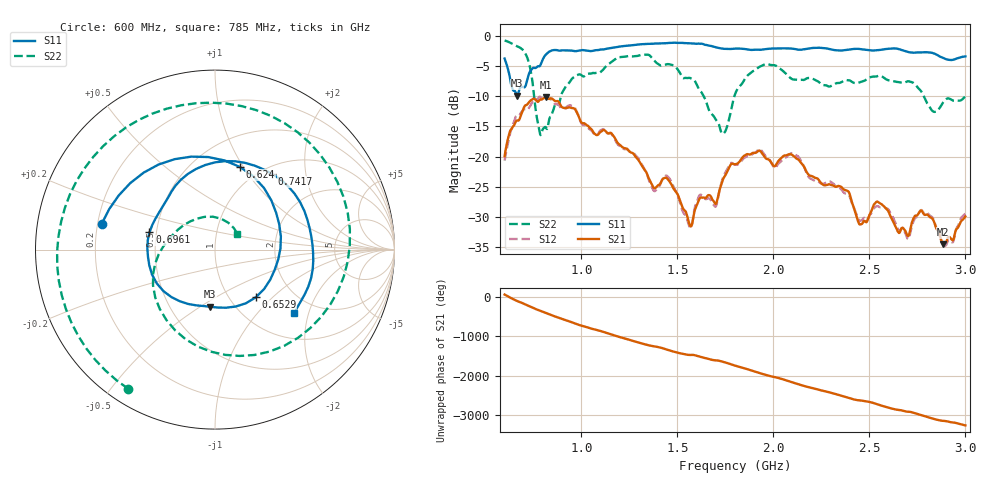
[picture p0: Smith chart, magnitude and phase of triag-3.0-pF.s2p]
#  HZ  S  RI  R  50.00
! Rohde & Schwarz ZVB8 2Ports - Version 2.81 - 1145.1010k08 SN: 100113
! Date: 2016-03-12 02:07:58
! Measurements: S11 S21 S12 S22
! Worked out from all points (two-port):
!   1000 points, 600 MHz to 3 GHz, reference 50 ohm
!   highest |S21| = -10.21 dB at 816.2 MHz (marker M1); lowest = -34.5 dB at 2.885 GHz (marker M2)
!   |S21| within 3 dB of the highest: 684 MHz to 983.8 MHz (299.8 MHz wide, 36 % of centre)
!   lowest |S11| = -9.9 dB at 664.9 MHz (marker M3), VSWR 1.94, Z = 38.8 - j27.5 ohm
!   |S11| at or under -10 dB: nowhere
!   |S22| runs from -16.4 to -0.8 dB; largest |S21 - S12| = 0.035
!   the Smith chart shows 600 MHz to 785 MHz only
!   S11 on the Smith chart (normalised r, x): 600 MHz: 0.22, +0.11; 624 MHz: 0.81, +0.97; 652.9 MHz: 1.31, -0.80; 696.1 MHz: 0.46, +0.10; 741.7 MHz: 1.12, +1.31; 785 MHz: 1.55, -1.62
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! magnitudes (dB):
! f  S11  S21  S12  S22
! 600 MHz  -3.8  -20.0  -20.7  -0.8
! 624 MHz  -6.4  -16.3  -16.8  -1.1
! 652.9 MHz  -9.1  -14.6  -13.9  -1.5
! 664.9 MHz  -9.9  -14.0  -13.2  -1.7
! 696.1 MHz  -8.5  -12.2  -12.3  -2.4
! 741.7 MHz  -5.5  -10.6  -11.1  -6.9
! 785 MHz  -4.9  -10.5  -10.1  -16.3
! 816.2 MHz  -3.1  -10.2  -9.9  -15.2
! 1.001 GHz  -2.4  -14.4  -14.5  -6.6
! 1.4 GHz  -1.3  -24.7  -25.1  -4.7
! 1.455 GHz  -1.2  -24.0  -23.5  -4.7
! 1.568 GHz  -1.3  -31.5  -31.7  -7.0
! 1.736 GHz  -2.1  -23.9  -23.5  -16.3
! 1.801 GHz  -2.1  -21.3  -21.3  -9.6
! 1.957 GHz  -2.2  -20.2  -19.9  -4.7
! 2.2 GHz  -2.0  -23.2  -23.7  -7.1
! 2.452 GHz  -2.2  -31.2  -30.6  -7.7
! 2.601 GHz  -2.2  -29.2  -28.9  -7.4
! 2.7 GHz  -2.7  -33.1  -33.6  -7.5
! 2.808 GHz  -2.7  -29.8  -29.5  -11.5
! 2.885 GHz  -3.7  -34.5  -34.8  -11.0
! 3 GHz  -3.4  -29.9  -29.5  -9.9
